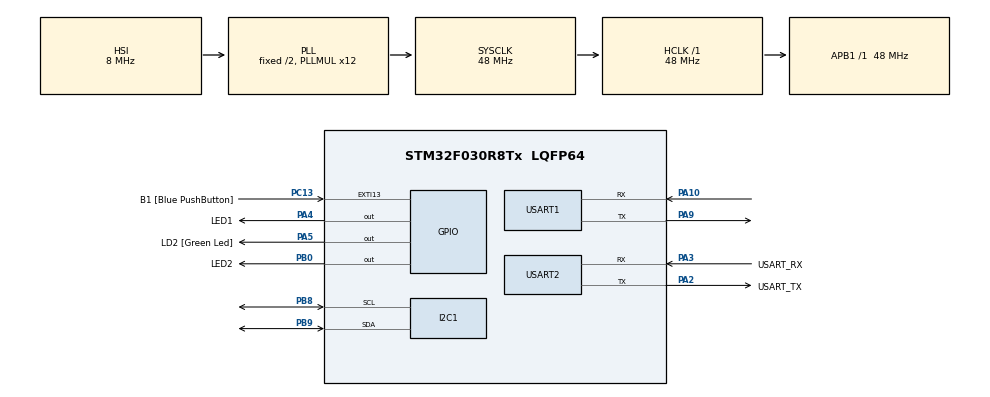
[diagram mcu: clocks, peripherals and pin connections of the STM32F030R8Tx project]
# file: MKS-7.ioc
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FREERTOS.Queues01=xVisualQueue,16,uint16_t,0,Dynamic,NULL,NULL
FREERTOS.Tasks01=defaultTask,0,128,StartDefaultTask,Default,NULL,Dynamic,NULL,NULL;VisualTask,0,128,StartVisualTask,Default,NULL,Dynamic,NULL,NULL;AcceleroTask,0,128,StartAcceleroTask,Default,NULL,Dynamic,NULL,NULL
FREERTOS.configUSE_NEWLIB_REENTRANT=1
I2C1.Timing=0x00201D2B
Mcu.Family=STM32F0
Mcu.Name=STM32F030R8Tx
Mcu.Package=LQFP64
NVIC.TIM14_IRQn=true\:3\:0\:false\:false\:true\:false\:false\:true\:true
NVIC.TimeBase=TIM14_IRQn
NVIC.TimeBaseIP=TIM14
PA10.Mode=Asynchronous
PA10.Signal=USART1_RX
PA13.GPIO_Label=TMS
PA13.Mode=Serial_Wire
PA13.Signal=SYS_SWDIO
PA14.GPIO_Label=TCK
PA14.Mode=Serial_Wire
PA14.Signal=SYS_SWCLK
PA2.GPIO_Label=USART_TX
PA2.GPIO_Mode=GPIO_MODE_AF_PP
PA2.GPIO_PuPd=GPIO_NOPULL
PA2.GPIO_Speed=GPIO_SPEED_FREQ_LOW
PA2.Mode=Asynchronous
PA2.Signal=USART2_TX
PA3.GPIO_Label=USART_RX
PA3.GPIO_Mode=GPIO_MODE_AF_PP
PA3.GPIO_PuPd=GPIO_NOPULL
PA3.GPIO_Speed=GPIO_SPEED_FREQ_LOW
PA3.Mode=Asynchronous
PA3.Signal=USART2_RX
PA4.GPIO_Label=LED1
PA4.Signal=GPIO_Output
PA5.GPIO_Label=LD2 [Green Led]
PA5.GPIO_Mode=GPIO_MODE_OUTPUT_PP
PA5.GPIO_PuPd=GPIO_NOPULL
PA5.GPIO_Speed=GPIO_SPEED_FREQ_LOW
PA5.Signal=GPIO_Output
PA9.Mode=Asynchronous
PA9.Signal=USART1_TX
PB0.GPIO_Label=LED2
PB0.Signal=GPIO_Output
PB8.Mode=I2C
PB8.Signal=I2C1_SCL
PB9.Mode=I2C
PB9.Signal=I2C1_SDA
PC13.GPIO_Label=B1 [Blue PushButton]
PC13.GPIO_ModeDefaultEXTI=GPIO_MODE_IT_FALLING
PC13.Signal=GPXTI13
PC14-OSC32_IN.Mode=LSE-External-Oscillator
PC14-OSC32_IN.Signal=RCC_OSC32_IN
PC15-OSC32_OUT.Mode=LSE-External-Oscillator
PC15-OSC32_OUT.Signal=RCC_OSC32_OUT
PF0-OSC_IN.Mode=HSE-External-Clock-Source
PF0-OSC_IN.Signal=RCC_OSC_IN
PF1-OSC_OUT.Signal=RCC_OSC_OUT
ProjectManager.HeapSize=0x200
ProjectManager.StackSize=0x400
ProjectManager.TargetToolchain=STM32CubeIDE
RCC.AHBFreq_Value=48000000
RCC.APB1Freq_Value=48000000
RCC.APB1TimFreq_Value=48000000
RCC.HCLKFreq_Value=48000000
RCC.PLLMUL=RCC_PLL_MUL12
RCC.SYSCLKFreq_VALUE=48000000
RCC.SYSCLKSource=RCC_SYSCLKSOURCE_PLLCLK
USART1.VirtualMode-Asynchronous=VM_ASYNC
USART2.VirtualMode-Asynchronous=VM_ASYNC
VP_FREERTOS_VS_CMSIS_V1.Mode=CMSIS_V1
VP_SYS_VS_tim14.Mode=TIM14
board=NUCLEO-F030R8

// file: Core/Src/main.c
/* USER CODE BEGIN Header */
/**
  ******************************************************************************
  * @file           : main.c
  * @brief          : Main program body
  ******************************************************************************
  * @attention
  *
  * Copyright (c) 2024 STMicroelectronics.
  * All rights reserved.
  *
  * This software is licensed under terms that can be found in the LICENSE file
  * in the root directory of this software component.
  * If no LICENSE file comes with this software, it is provided AS-IS.
  *
  ******************************************************************************
  */
/* USER CODE END Header */
#include "main.h"
#include "cmsis_os.h"

/* USER CODE BEGIN Includes */
#include "lis2dw12_reg.h"
#include <stdio.h>
/* USER CODE END Includes */

I2C_HandleTypeDef hi2c1;

UART_HandleTypeDef huart1;
UART_HandleTypeDef huart2;

osThreadId defaultTaskHandle;
osThreadId VisualTaskHandle;
osThreadId AcceleroTaskHandle;
osMessageQId xVisualQueueHandle;

void SystemClock_Config(void);
static void MX_GPIO_Init(void);
static void MX_USART2_UART_Init(void);
static void MX_I2C1_Init(void);
static void MX_USART1_UART_Init(void);
void StartDefaultTask(void const * argument);
void StartVisualTask(void const * argument);
void StartAcceleroTask(void const * argument);

/* USER CODE BEGIN 0 */
int _write(int file, char const *buf, int n)
{
	/* stdout redirection to UART2 */
	HAL_UART_Transmit(&huart2, (uint8_t*)(buf), n, HAL_MAX_DELAY);
	return n;
}

static int32_t platform_write(void *handle, uint8_t reg, uint8_t *bufp, uint16_t len);
static int32_t platform_read(void *handle, uint8_t reg, uint8_t *bufp, uint16_t len);
static stmdev_ctx_t lis2dw12 = {
.write_reg = platform_write,
.read_reg = platform_read,
.handle = &hi2c1,
};

static int32_t platform_write(void *handle, uint8_t reg, uint8_t *bufp,
uint16_t len)
{
HAL_I2C_Mem_Write(handle, LIS2DW12_I2C_ADD_H, reg, I2C_MEMADD_SIZE_8BIT, bufp, len, 1000);
return 0;
}
static int32_t platform_read(void *handle, uint8_t reg, uint8_t *bufp, uint16_t len)
{
HAL_I2C_Mem_Read(handle, LIS2DW12_I2C_ADD_H, reg, I2C_MEMADD_SIZE_8BIT, bufp, len, 1000);
return 0;
}

/* USER CODE END 0 */

int main(void)
{

  /* MCU Configuration--------------------------------------------------------*/

  /* Reset of all peripherals, Initializes the Flash interface and the Systick. */
  HAL_Init();

  /* Configure the system clock */
  SystemClock_Config();

  /* Initialize all configured peripherals */
  MX_GPIO_Init();
  MX_USART2_UART_Init();
  MX_I2C1_Init();
  MX_USART1_UART_Init();

  /* Create the queue(s) */
  /* definition and creation of xVisualQueue */
  osMessageQDef(xVisualQueue, 16, uint16_t);
  xVisualQueueHandle = osMessageCreate(osMessageQ(xVisualQueue), NULL);

  /* Create the thread(s) */
  /* definition and creation of defaultTask */
  osThreadDef(defaultTask, StartDefaultTask, osPriorityNormal, 0, 128);
  defaultTaskHandle = osThreadCreate(osThread(defaultTask), NULL);

  /* definition and creation of VisualTask */
  osThreadDef(VisualTask, StartVisualTask, osPriorityNormal, 0, 128);
  VisualTaskHandle = osThreadCreate(osThread(VisualTask), NULL);

  /* definition and creation of AcceleroTask */
  osThreadDef(AcceleroTask, StartAcceleroTask, osPriorityNormal, 0, 128);
  AcceleroTaskHandle = osThreadCreate(osThread(AcceleroTask), NULL);

  /* Start scheduler */
  osKernelStart();

  /* We should never get here as control is now taken by the scheduler */

  /* Infinite loop */
  while (1)
  {

  }
}

void SystemClock_Config(void)
{
  RCC_OscInitTypeDef RCC_OscInitStruct = {0};
  RCC_ClkInitTypeDef RCC_ClkInitStruct = {0};
  RCC_PeriphCLKInitTypeDef PeriphClkInit = {0};

  /** Initializes the RCC Oscillators according to the specified parameters
  * in the RCC_OscInitTypeDef structure.
  */
  RCC_OscInitStruct.OscillatorType = RCC_OSCILLATORTYPE_HSI;
  RCC_OscInitStruct.HSIState = RCC_HSI_ON;
  RCC_OscInitStruct.HSICalibrationValue = RCC_HSICALIBRATION_DEFAULT;
  RCC_OscInitStruct.PLL.PLLState = RCC_PLL_ON;
  RCC_OscInitStruct.PLL.PLLSource = RCC_PLLSOURCE_HSI;
  RCC_OscInitStruct.PLL.PLLMUL = RCC_PLL_MUL12;
  RCC_OscInitStruct.PLL.PREDIV = RCC_PREDIV_DIV1;
  if (HAL_RCC_OscConfig(&RCC_OscInitStruct) != HAL_OK)
  {
    Error_Handler();
  }

  /** Initializes the CPU, AHB and APB buses clocks
  */
  RCC_ClkInitStruct.ClockType = RCC_CLOCKTYPE_HCLK|RCC_CLOCKTYPE_SYSCLK
                              |RCC_CLOCKTYPE_PCLK1;
  RCC_ClkInitStruct.SYSCLKSource = RCC_SYSCLKSOURCE_PLLCLK;
  RCC_ClkInitStruct.AHBCLKDivider = RCC_SYSCLK_DIV1;
  RCC_ClkInitStruct.APB1CLKDivider = RCC_HCLK_DIV1;

  if (HAL_RCC_ClockConfig(&RCC_ClkInitStruct, FLASH_LATENCY_1) != HAL_OK)
  {
    Error_Handler();
  }
  PeriphClkInit.PeriphClockSelection = RCC_PERIPHCLK_USART1|RCC_PERIPHCLK_I2C1;
  PeriphClkInit.Usart1ClockSelection = RCC_USART1CLKSOURCE_PCLK1;
  PeriphClkInit.I2c1ClockSelection = RCC_I2C1CLKSOURCE_HSI;
  if (HAL_RCCEx_PeriphCLKConfig(&PeriphClkInit) != HAL_OK)
  {
    Error_Handler();
  }
}

static void MX_I2C1_Init(void)
{

  hi2c1.Instance = I2C1;
  hi2c1.Init.Timing = 0x00201D2B;
  hi2c1.Init.OwnAddress1 = 0;
  hi2c1.Init.AddressingMode = I2C_ADDRESSINGMODE_7BIT;
  hi2c1.Init.DualAddressMode = I2C_DUALADDRESS_DISABLE;
  hi2c1.Init.OwnAddress2 = 0;
  hi2c1.Init.OwnAddress2Masks = I2C_OA2_NOMASK;
  hi2c1.Init.GeneralCallMode = I2C_GENERALCALL_DISABLE;
  hi2c1.Init.NoStretchMode = I2C_NOSTRETCH_DISABLE;
  if (HAL_I2C_Init(&hi2c1) != HAL_OK)
  {
    Error_Handler();
  }

  /** Configure Analogue filter
  */
  if (HAL_I2CEx_ConfigAnalogFilter(&hi2c1, I2C_ANALOGFILTER_ENABLE) != HAL_OK)
  {
    Error_Handler();
  }

  /** Configure Digital filter
  */
  if (HAL_I2CEx_ConfigDigitalFilter(&hi2c1, 0) != HAL_OK)
  {
    Error_Handler();
  }

}

static void MX_USART1_UART_Init(void)
{

  huart1.Instance = USART1;
  huart1.Init.BaudRate = 38400;
  huart1.Init.WordLength = UART_WORDLENGTH_8B;
  huart1.Init.StopBits = UART_STOPBITS_1;
  huart1.Init.Parity = UART_PARITY_NONE;
  huart1.Init.Mode = UART_MODE_TX_RX;
  huart1.Init.HwFlowCtl = UART_HWCONTROL_NONE;
  huart1.Init.OverSampling = UART_OVERSAMPLING_16;
  huart1.Init.OneBitSampling = UART_ONE_BIT_SAMPLE_DISABLE;
  huart1.AdvancedInit.AdvFeatureInit = UART_ADVFEATURE_NO_INIT;
  if (HAL_UART_Init(&huart1) != HAL_OK)
  {
    Error_Handler();
  }

}

static void MX_USART2_UART_Init(void)
{

  huart2.Instance = USART2;
  huart2.Init.BaudRate = 38400;
  huart2.Init.WordLength = UART_WORDLENGTH_8B;
  huart2.Init.StopBits = UART_STOPBITS_1;
  huart2.Init.Parity = UART_PARITY_NONE;
  huart2.Init.Mode = UART_MODE_TX_RX;
  huart2.Init.HwFlowCtl = UART_HWCONTROL_NONE;
  huart2.Init.OverSampling = UART_OVERSAMPLING_16;
  huart2.Init.OneBitSampling = UART_ONE_BIT_SAMPLE_DISABLE;
  huart2.AdvancedInit.AdvFeatureInit = UART_ADVFEATURE_NO_INIT;
  if (HAL_UART_Init(&huart2) != HAL_OK)
  {
    Error_Handler();
  }

}

static void MX_GPIO_Init(void)
{
  GPIO_InitTypeDef GPIO_InitStruct = {0};

  /* GPIO Ports Clock Enable */
  __HAL_RCC_GPIOC_CLK_ENABLE();
  __HAL_RCC_GPIOF_CLK_ENABLE();
  __HAL_RCC_GPIOA_CLK_ENABLE();
  __HAL_RCC_GPIOB_CLK_ENABLE();

  /*Configure GPIO pin Output Level */
  HAL_GPIO_WritePin(GPIOA, LED1_Pin|LD2_Pin, GPIO_PIN_RESET);

  /*Configure GPIO pin Output Level */
  HAL_GPIO_WritePin(LED2_GPIO_Port, LED2_Pin, GPIO_PIN_RESET);

  /*Configure GPIO pin : B1_Pin */
  GPIO_InitStruct.Pin = B1_Pin;
  GPIO_InitStruct.Mode = GPIO_MODE_IT_FALLING;
  GPIO_InitStruct.Pull = GPIO_NOPULL;
  HAL_GPIO_Init(B1_GPIO_Port, &GPIO_InitStruct);

  /*Configure GPIO pins : LED1_Pin LD2_Pin */
  GPIO_InitStruct.Pin = LED1_Pin|LD2_Pin;
  GPIO_InitStruct.Mode = GPIO_MODE_OUTPUT_PP;
  GPIO_InitStruct.Pull = GPIO_NOPULL;
  GPIO_InitStruct.Speed = GPIO_SPEED_FREQ_LOW;
  HAL_GPIO_Init(GPIOA, &GPIO_InitStruct);

  /*Configure GPIO pin : LED2_Pin */
  GPIO_InitStruct.Pin = LED2_Pin;
  GPIO_InitStruct.Mode = GPIO_MODE_OUTPUT_PP;
  GPIO_InitStruct.Pull = GPIO_NOPULL;
  GPIO_InitStruct.Speed = GPIO_SPEED_FREQ_LOW;
  HAL_GPIO_Init(LED2_GPIO_Port, &GPIO_InitStruct);

}

void StartDefaultTask(void const * argument)
{
  for(;;)
  {
    osDelay(1);
  }
}

void StartVisualTask(void const * argument)
{
  /* USER CODE BEGIN StartVisualTask */
  /* Infinite loop */
  int16_t msg;
  for(;;)
  {
  if (xQueueReceive(xVisualQueueHandle, &msg, portMAX_DELAY)) {
		  if (msg <= -1000) {
			  HAL_GPIO_WritePin(LED1_GPIO_Port, LED1_Pin, GPIO_PIN_SET);
		  } else {
			  HAL_GPIO_WritePin(LED1_GPIO_Port, LED1_Pin, GPIO_PIN_RESET);
		  }

		  if (msg > 1000) {
		  	  HAL_GPIO_WritePin(LED2_GPIO_Port, LED2_Pin, GPIO_PIN_SET);
		  } else {
			  HAL_GPIO_WritePin(LED2_GPIO_Port, LED2_Pin, GPIO_PIN_RESET);
		  }
	  }
	  osDelay(1);
  }
  /* USER CODE END StartVisualTask */
}

void StartAcceleroTask(void const * argument)
{
	/* USER CODE BEGIN StartAcceleroTask */
	/* Infinite loop */
	uint8_t whoamI = 0;
	lis2dw12_device_id_get(&lis2dw12, &whoamI);

	printf("LIS2DW12 ID: %s\r\n", (whoamI == LIS2DW12_ID) ? "OK" : "FAIL");

	lis2dw12_full_scale_set(&lis2dw12, LIS2DW12_2g);
	lis2dw12_power_mode_set(&lis2dw12, LIS2DW12_CONT_LOW_PWR_LOW_NOISE_2);
	lis2dw12_block_data_update_set(&lis2dw12, PROPERTY_ENABLE);
	// enable continuous FIFO
	lis2dw12_fifo_mode_set(&lis2dw12, LIS2DW12_STREAM_MODE);
	// enable part from power-down
	lis2dw12_data_rate_set(&lis2dw12, LIS2DW12_XL_ODR_25Hz);

	int16_t msg;
	//uint8_t i = 0;
	uint8_t cnt = 0;

	for(;;) {
		/*if (i == 0) msg = -5000;
		else if (i == 1) msg = 0;
		else if (i == 2) msg = 5000;
		else if (i == 3) msg = 0;
		i++;
		if (i>3) i = 0;
		xQueueSend(xVisualQueueHandle, &msg, 0);
		vTaskDelay(300);*/

		uint8_t samples;
		int16_t raw_acceleration[3];
		lis2dw12_fifo_data_level_get(&lis2dw12, &samples);
		for (uint8_t i = 0; i < samples; i++) {
		// Read acceleration data
		lis2dw12_acceleration_raw_get(&lis2dw12, raw_acceleration);
			if (cnt == 20) {
				printf("X=%d Y=%d Z=%d\n", raw_acceleration[0], raw_acceleration[1], raw_acceleration[2]);
			}
		}
		cnt++;
		if (cnt >= 20) cnt = 0;
		msg = raw_acceleration[0];
		xQueueSend(xVisualQueueHandle, &msg, 0);
		vTaskDelay(50);
	}
	/* USER CODE END StartAcceleroTask */
}

void HAL_TIM_PeriodElapsedCallback(TIM_HandleTypeDef *htim)
{
  if (htim->Instance == TIM14) {
    HAL_IncTick();
  }
}

void Error_Handler(void)
{
  __disable_irq();
  while (1)
  {
  }
}
